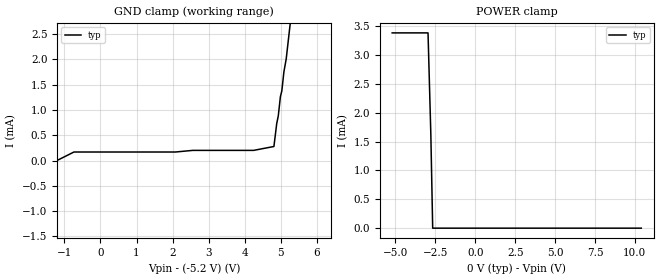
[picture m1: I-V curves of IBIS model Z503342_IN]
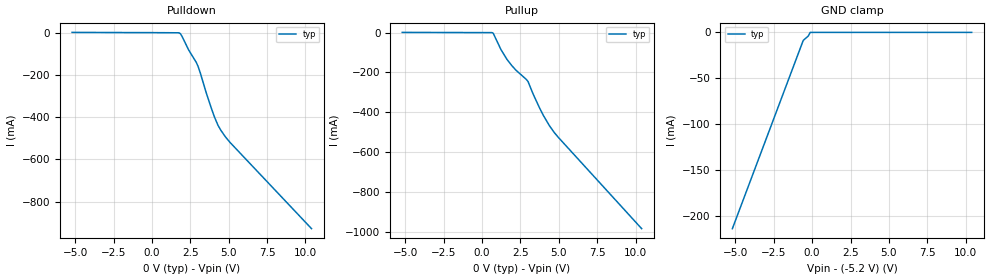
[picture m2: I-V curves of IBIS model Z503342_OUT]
| YOU ARE ONLY AUTHORIZED TO USE THIS SOFTWARE
| ACCORDING TO LICENSOR'S LICENSE RESTRICTIONS.
[IBIS Ver] 3.1
[File Name] mc10109l.ibs
[File Rev] 2.0
[Source] Measured and created by ICX Technology
[Date] Friday 7/14/00 9:07:46 AM
[Copyright]
| (C) COPYRIGHT 1993-2000
| MENTOR GRAPHICS CORPORATION
| ICX STANDARD LIBRARY, ICX PROJECT MODELING,
| ICX CUSTOM MODELING, ICX VENDOR MODEL
| ALL RIGHTS RESERVED.
| THE FOLLOWING ARE TRADEMARKS OR SERVICE MARKS OF
| MENTOR GRAPHICS CORPORATION:ICX (R), ICX STANDARD
| LIBRARY(R), ICX PROJECT MODELING(R), ICX CUSTOM
| MODELING(R), qualityIBIS(TM), MODELVIEWER(TM),
| AND MODELEDITOR(TM)
| ALL COPIES OF SOFTWARE, INCLUDING BUT NOT LIMITED TO
| ANY MODIFICATIONS, ENHANCEMENTS OR DERIVATIVE WORKS,
| MUST CONTAIN ALL MENTOR GRAPHICS CORPORATION'S
| NOTICES AND LEGENDS, INCLUDING THOSE EMBEDDED IN
| SOFTWARE AND THOSE AFFIXED TO SOFTWARE MEDIUM
| AND CONTAINER, AS RECEIVED FROM MENTOR GRAPHICS
| CORPORATION.
|  ZAP Model Builder 2.7
[Component] MC10109L
[Manufacturer] OnSemiconductor
[Package]
| variable   typ   min   max
R_pkg  .212ohms NA NA
L_pkg  4.758nH NA NA
C_pkg  1.944pF NA NA
[Pin] signal_name  model_name  R_pin  L_pin C_pin
1 VCC1 POWER .224 7.258n 2.683p
2 AOUT Z503342_OUT .216 5.258n 2.19p
3 _AOUT Z503342_OUT .208 3.758n 1.697p
4 AIN Z503342_IN .2 2.758n 1.204p
5 AIN Z503342_IN .2 2.758n 1.204p
6 AIN Z503342_IN .208 3.758n 1.697p
7 AIN Z503342_IN .216 5.258n 2.19p
8 VEE POWER .224 7.258n 2.683p
9 BIN Z503342_IN .224 7.258n 2.683p
10 BIN Z503342_IN .216 5.258n 2.19p
11 BIN Z503342_IN .208 3.758n 1.697p
12 BIN Z503342_IN .2 2.758n 1.204p
13 BIN Z503342_IN .2 2.758n 1.204p
14 _BOUT Z503342_OUT .208 3.758n 1.697p
15 BOUT Z503342_OUT .216 5.258n 2.19p
16 VCC2 POWER .224 7.258n 2.683p
| Models and submodels in the file (2): Z503342_IN (Input_ECL), Z503342_OUT (Output_ECL)
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| (C) COPYRIGHT 1993-2000
| MENTOR GRAPHICS CORPORATION
| ICX STANDARD LIBRARY, ICX PROJECT MODELING,
| ICX CUSTOM MODELING, ICX VENDOR MODEL
| ALL RIGHTS RESERVED.
| THE FOLLOWING ARE TRADEMARKS OR SERVICE MARKS OF
| MENTOR GRAPHICS CORPORATION:ICX (R), ICX STANDARD
| LIBRARY(R), ICX PROJECT MODELING(R), ICX CUSTOM
| MODELING(R), qualityIBIS(TM), MODELVIEWER(TM),
| AND MODELEDITOR(TM)
| ALL COPIES OF SOFTWARE, INCLUDING BUT NOT LIMITED TO
| ANY MODIFICATIONS, ENHANCEMENTS OR DERIVATIVE WORKS,
| MUST CONTAIN ALL MENTOR GRAPHICS CORPORATION'S
| NOTICES AND LEGENDS, INCLUDING THOSE EMBEDDED IN
| SOFTWARE AND THOSE AFFIXED TO SOFTWARE MEDIUM
| AND CONTAINER, AS RECEIVED FROM MENTOR GRAPHICS
| CORPORATION.
| Model Application Version 1.89 2/18/99.
[Model] Z503342_IN
Model_type Input_ECL
Vinl = -1.475V
Vinh = -1.105V
C_comp 4.000pF NA NA
| variable typ   min   max
[Voltage Range] -5.200V NA NA
[GND Clamp Reference] -5.200V NA NA
[POWER Clamp Reference] 0.000V NA NA
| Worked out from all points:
|   POWER clamp passes 1 mA (typ) near -2.73 V on its own axis
[GND Clamp]
-5.2V     -1.424mA   NA         NA
-735mV    167.9uA    NA         NA
2.082V    167.9uA    NA         NA
4.247V    199.9uA    NA         NA
4.81V     276.7uA    NA         NA
4.888V    730.9uA    NA         NA
4.931V    879.2uA    NA         NA
4.99V     1.262mA    NA         NA
5.029V    1.372mA    NA         NA
5.088V    1.754mA    NA         NA
5.151V    2.006mA    NA         NA
10.4V     34.94mA    NA         NA
[POWER Clamp]
-5.2V     3.381mA    NA         NA
-2.954V   3.381mA    NA         NA
-2.778V   1.625mA    NA         NA
-2.662V   0A         NA         NA
10.4V     0A         NA         NA
| (C) COPYRIGHT 1993-2000
| MENTOR GRAPHICS CORPORATION
| ICX STANDARD LIBRARY, ICX PROJECT MODELING,
| ICX CUSTOM MODELING, ICX VENDOR MODEL
| ALL RIGHTS RESERVED.
| THE FOLLOWING ARE TRADEMARKS OR SERVICE MARKS OF
| MENTOR GRAPHICS CORPORATION:ICX (R), ICX STANDARD
| LIBRARY(R), ICX PROJECT MODELING(R), ICX CUSTOM
| MODELING(R), qualityIBIS(TM), MODELVIEWER(TM),
| AND MODELEDITOR(TM)
| ALL COPIES OF SOFTWARE, INCLUDING BUT NOT LIMITED TO
| ANY MODIFICATIONS, ENHANCEMENTS OR DERIVATIVE WORKS,
| MUST CONTAIN ALL MENTOR GRAPHICS CORPORATION'S
| NOTICES AND LEGENDS, INCLUDING THOSE EMBEDDED IN
| SOFTWARE AND THOSE AFFIXED TO SOFTWARE MEDIUM
| AND CONTAINER, AS RECEIVED FROM MENTOR GRAPHICS
| CORPORATION.
| Model Application Version 1.89 2/18/99.
[Model] Z503342_OUT
Model_type Output_ECL
Vref=-2.000V
Rref=50.00ohms
Cref=0.000F
Vmeas=-1.290V
C_comp 8.000pF NA NA
| variable typ   min   max
[Voltage Range] -5.200V NA NA
[POWER Clamp Reference] 0.000V NA NA
[Pullup Reference] 0.000V NA NA
[Pulldown Reference] 0.000V NA NA
[GND Clamp Reference] -5.200V NA NA
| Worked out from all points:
|   GND clamp passes 1 mA (typ) near -0.16 V on its own axis
[GND Clamp]
-5.2V     -213.3mA   NA         NA
-581mV    -8.646mA   NA         NA
-254mV    -3.974mA   NA         NA
-127mV    0A         NA         NA
10.4V     0A         NA         NA
[Pulldown]
-5.2V     1.5mA      NA         NA
1.704V    -333.4uA   NA         NA
1.859V    -4.891mA   NA         NA
2.393V    -81.57mA   NA         NA
2.891V    -140.6mA   NA         NA
3.007V    -159.2mA   NA         NA
3.545V    -285.9mA   NA         NA
3.867V    -356.6mA   NA         NA
4.302V    -437.9mA   NA         NA
4.492V    -461.8mA   NA         NA
5.088V    -519.1mA   NA         NA
10.4V     -927.3mA   NA         NA
[Pullup]
-5.2V     1.003mA    NA         NA
569.3mV   26.64uA    NA         NA
727.2mV   -3.189mA   NA         NA
1.23V     -84.97mA   NA         NA
1.617V    -133.8mA   NA         NA
2.197V    -187.9mA   NA         NA
2.998V    -246.1mA   NA         NA
3.322V    -307.6mA   NA         NA
3.984V    -414.5mA   NA         NA
4.386V    -467.2mA   NA         NA
4.707V    -502mA     NA         NA
10.4V     -984.8mA   NA         NA
[POWER Clamp]
-5.2V     0A         NA         NA
10.4V     0A         NA         NA
[Ramp]
| variable typ min max
dV/dt_r 614.9m/1.570n NA NA
dV/dt_f 614.9m/1.040n NA NA
R_load = 500.0Ohms
